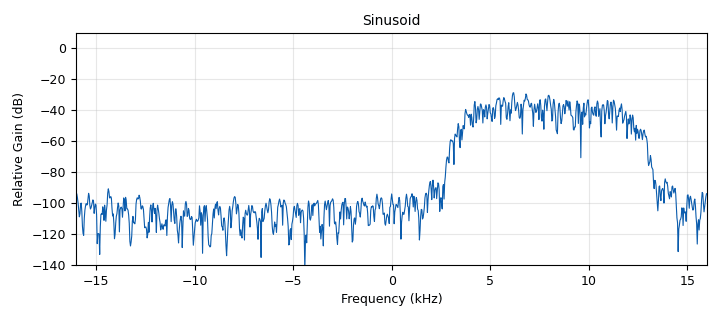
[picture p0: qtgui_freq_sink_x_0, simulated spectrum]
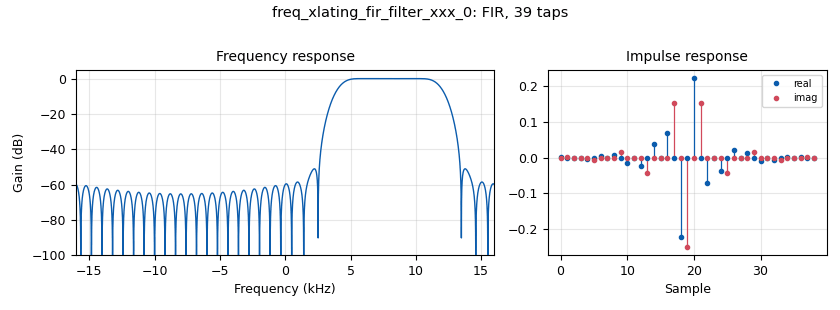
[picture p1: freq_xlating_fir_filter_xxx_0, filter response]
options:
  parameters:
    author: jachall
    generate_options: qt_gui
    id: designingFilterTaps
    output_language: python
    title: Designin Filter Taps
  states: {}

blocks:
- name: bandPassTaps
  id: variable
  parameters:
    value: lowPassFilterTaps*frequencyShift
  states: {}
- name: bandpassCenterFrequency
  id: variable
  parameters:
    value: samp_rate/4
  states: {}
- name: boxcarFilter
  id: variable
  parameters:
    value: np.ones(8)/8
  states: {}
- name: frequency
  id: variable_qtgui_range
  parameters:
    label: Frequency Slider
    outputmsgname: value
    showports: 'False'
    start: '-samp_rate/2'
    step: '1'
    stop: samp_rate/2
    value: '0'
  states: {}
- name: frequencyShift
  id: variable
  parameters:
    value: np.exp(2j*np.pi*(bandpassCenterFrequency/samp_rate)*n)
  states: {}
- name: lowPassFilterTaps
  id: variable_low_pass_filter_taps
  parameters:
    cutoff_freq: samp_rate/8
    gain: '1.0'
    samp_rate: samp_rate
    width: samp_rate/16
    win: window.WIN_HAMMING
  states: {}
- name: n
  id: variable
  parameters:
    value: np.arange(0, len(lowPassFilterTaps))
  states: {}
- name: samp_rate
  id: variable
  parameters:
    value: '32000'
  states: {}
- name: analog_fastnoise_source_x_0
  id: analog_fastnoise_source_x
  parameters:
    amp: '1'
    noise_type: analog.GR_GAUSSIAN
    samples: '8192'
    seed: '0'
    type: float
  states: {}
- name: analog_sig_source_x_0
  id: analog_sig_source_x
  parameters:
    amp: '1'
    freq: frequency
    offset: '0'
    phase: '0'
    samp_rate: samp_rate
    type: float
    waveform: analog.GR_COS_WAVE
  states: {state: disabled}
- name: blocks_throttle_0
  id: blocks_throttle
  parameters:
    samples_per_second: samp_rate
    type: complex
  states: {}
- name: freq_xlating_fir_filter_xxx_0
  id: freq_xlating_fir_filter_xxx
  parameters:
    center_freq: '0'
    decim: '1'
    samp_rate: samp_rate
    taps: bandPassTaps
    type: fcc
  states: {}
- name: import_0
  id: import
  parameters:
    imports: import numpy as np
  states: {}
- name: qtgui_freq_sink_x_0
  id: qtgui_freq_sink_x
  parameters:
    bw: samp_rate
    fc: '0'
    fftsize: '1024'
    name: Sinusoid
    type: complex
  states: {}

connections:
- [analog_fastnoise_source_x_0, '0', freq_xlating_fir_filter_xxx_0, '0']
- [blocks_throttle_0, '0', qtgui_freq_sink_x_0, '0']
- [freq_xlating_fir_filter_xxx_0, '0', blocks_throttle_0, '0']

metadata:
  file_format: 1
  grc_version: 3.10.4.0
